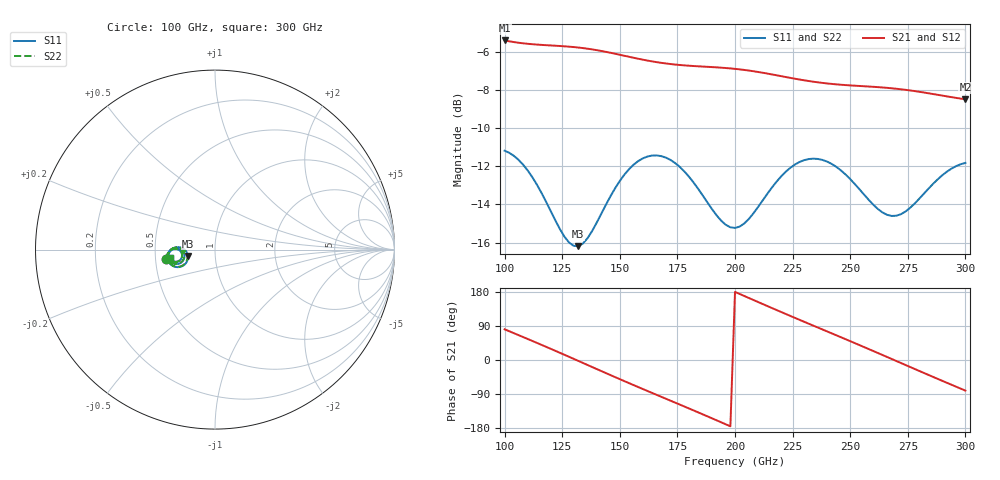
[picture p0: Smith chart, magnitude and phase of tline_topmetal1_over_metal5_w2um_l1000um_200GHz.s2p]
#  GHZ S DB R 50
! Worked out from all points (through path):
!   101 points, 100 GHz to 300 GHz, reference 50 ohm
!   highest |S21| = -5.40 dB at 100 GHz (marker M1); lowest = -8.5 dB at 300 GHz (marker M2)
!   group delay of S21, straight-line fit = 7.25 ps
!   lowest |S11| = -16.2 dB at 132 GHz (marker M3), VSWR 1.37, Z = 36.8 - j2.65 ohm
!   |S11| at or under -10 dB: start of sweep to end of sweep
!   |S22| runs from -16.1 to -11.2 dB; largest |S21 - S12| = 7.1e-14
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100  -11.18 -168.9  -5.40 81.0  -5.40 81.0  -11.16 -168.7
108  -11.91 -178.2  -5.55 60.6  -5.55 60.6  -11.87 -178.0
118  -13.86 176.2  -5.64 34.8  -5.64 34.8  -13.78 176.5
132  -16.19 -166.9  -5.77 -2.4  -5.77 -2.4  -16.05 -167.2
134  -16.05 -163.1  -5.80 -7.8  -5.80 -7.8  -15.92 -163.5
142  -14.48 -153.7  -5.95 -29.3  -5.95 -29.3  -14.40 -154.4
152  -12.43 -156.1  -6.20 -55.8  -6.20 -55.8  -12.40 -156.7
160  -11.58 -163.2  -6.40 -76.6  -6.40 -76.6  -11.56 -163.8
168  -11.47 -171.4  -6.57 -97.1  -6.57 -97.1  -11.45 -171.9
176  -12.03 -178.5  -6.68 -117.6  -6.68 -117.6  -12.02 -178.9
186  -13.53 177.7  -6.77 -143.4  -6.77 -143.4  -13.53 177.3
200  -15.23 -169.9  -6.89 179.7  -6.89 179.7  -15.23 -170.4
208  -14.47 -160.8  -7.01 158.4  -7.01 158.4  -14.46 -161.2
218  -12.81 -159.3  -7.22 132.0  -7.22 132.0  -12.81 -159.7
226  -11.91 -163.8  -7.40 111.2  -7.40 111.2  -11.91 -164.3
234  -11.60 -170.3  -7.56 90.7  -7.56 90.7  -11.61 -170.7
250  -12.67 179.5  -7.75 49.7  -7.75 49.7  -12.69 179.1
260  -14.01 -179.2  -7.83 23.7  -7.83 23.7  -14.04 -179.6
268  -14.60 -172.3  -7.90 2.7  -7.90 2.7  -14.65 -172.6
276  -14.18 -164.8  -8.02 -18.4  -8.02 -18.4  -14.21 -165.1
286  -12.92 -162.3  -8.21 -44.7  -8.21 -44.7  -12.94 -162.6
300  -11.82 -169.0  -8.48 -80.8  -8.48 -80.8  -11.83 -169.3
